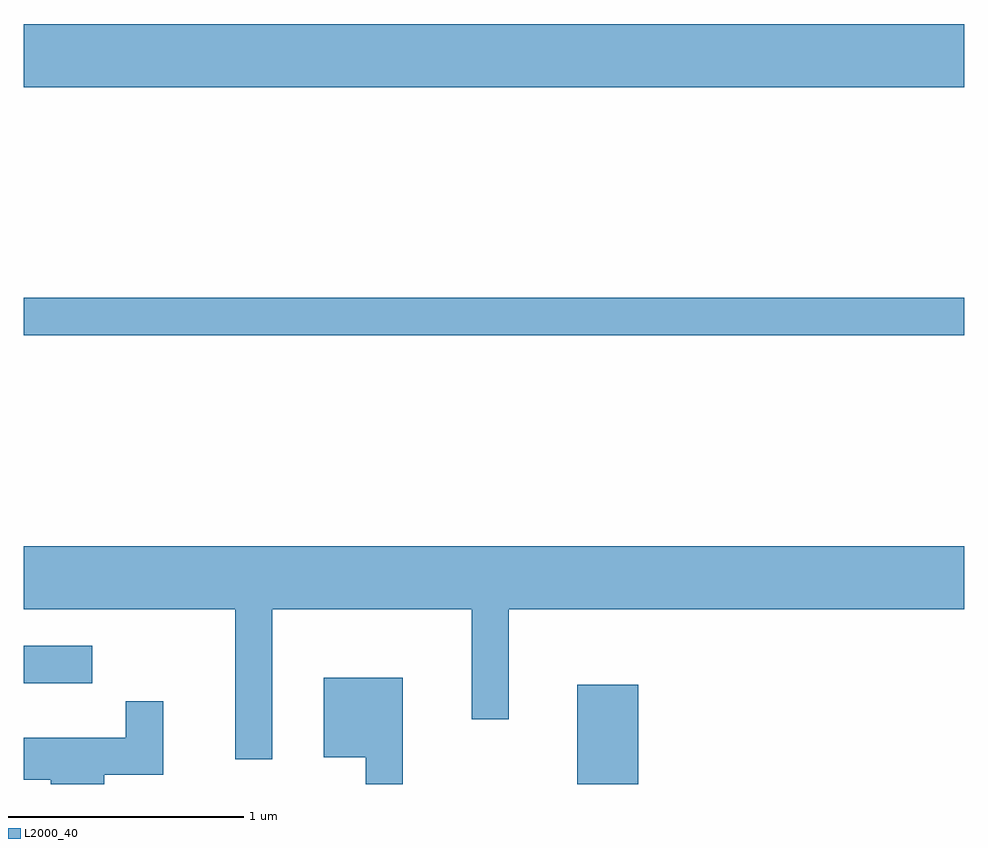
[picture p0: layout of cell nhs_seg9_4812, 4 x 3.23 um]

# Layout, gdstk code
import gdstk
lib = gdstk.Library(unit=1e-6, precision=1e-09)
def R(c, l, rs):  # rectangles x0, y0, x1, y1
    for r in rs: c.add(gdstk.rectangle(r[:2], r[2:], *l))
def P(c, l, *ps):  # polygons
    for p in ps: c.add(gdstk.Polygon(p, *l))
L2000_40 = (2000, 40)

nhs_seg9_4812 = lib.new_cell('nhs_seg9_4812')
R(nhs_seg9_4812, L2000_40, [(329.966,1964.432,330.224,1964.854), (327.611,1964.861,327.903,1965.019), (327.611,1966.341,331.611,1966.499), (327.611,1967.396,331.611,1967.664)])
P(nhs_seg9_4812, L2000_40, [(328.669,1965.176),(329.516,1965.176),(329.516,1964.708),(329.674,1964.708),(329.674,1965.176),(331.611,1965.176),(331.611,1965.444),(327.611,1965.444),(327.611,1965.176),(328.511,1965.176),(328.511,1964.538),(328.669,1964.538)],
  [(329.224,1964.884),(328.886,1964.884),(328.886,1964.546),(329.066,1964.546),(329.066,1964.432),(329.224,1964.432)],
  [(327.954,1964.471),(328.204,1964.471),(328.204,1964.783),(328.046,1964.783),(328.046,1964.629),(327.611,1964.629),(327.611,1964.451),(327.726,1964.451),(327.726,1964.432),(327.954,1964.432)])

lib.write_gds('nhs_seg9_4812.gds')
